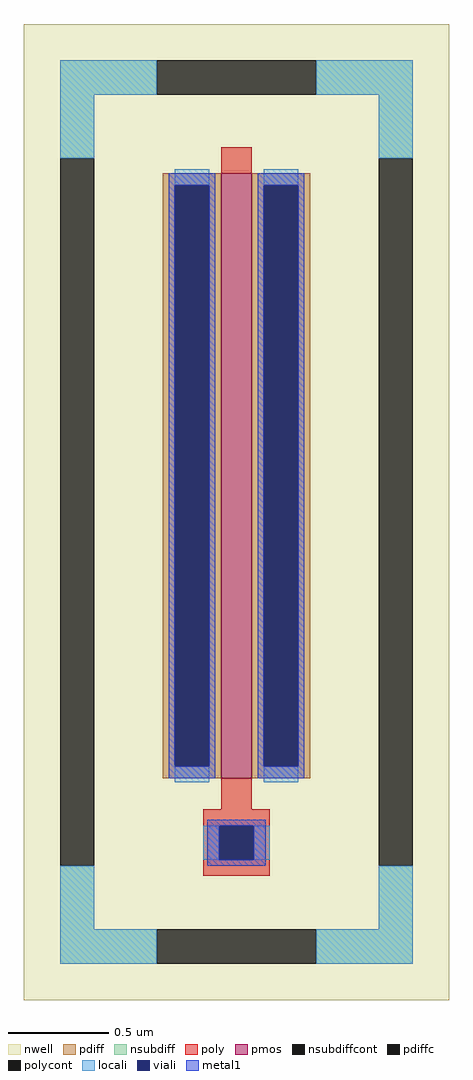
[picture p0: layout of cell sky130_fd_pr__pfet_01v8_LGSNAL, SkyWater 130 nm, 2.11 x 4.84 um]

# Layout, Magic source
magic
tech sky130A
magscale 1 2
<< nwell >>
rect -211 -484 211 484
<< pmos >>
rect -15 -264 15 336
<< pdiff >>
rect -73 324 -15 336
rect -73 -252 -61 324
rect -27 -252 -15 324
rect -73 -264 -15 -252
rect 15 324 73 336
rect 15 -252 27 324
rect 61 -252 73 324
rect 15 -264 73 -252
<< pdiffc >>
rect -61 -252 -27 324
rect 27 -252 61 324
<< nsubdiff >>
rect -175 414 -79 448
rect 79 414 175 448
rect -175 351 -141 414
rect 141 351 175 414
rect -175 -414 -141 -351
rect 141 -414 175 -351
rect -175 -448 -79 -414
rect 79 -448 175 -414
<< nsubdiffcont >>
rect -79 414 79 448
rect -175 -351 -141 351
rect 141 -351 175 351
rect -79 -448 79 -414
<< poly >>
rect -15 336 15 362
rect -15 -295 15 -264
rect -33 -311 33 -295
rect -33 -345 -17 -311
rect 17 -345 33 -311
rect -33 -361 33 -345
<< polycont >>
rect -17 -345 17 -311
<< locali >>
rect -175 414 -79 448
rect 79 414 175 448
rect -175 351 -141 414
rect 141 351 175 414
rect -61 324 -27 340
rect -61 -268 -27 -252
rect 27 324 61 340
rect 27 -268 61 -252
rect -33 -345 -17 -311
rect 17 -345 33 -311
rect -175 -414 -141 -351
rect 141 -414 175 -351
rect -175 -448 -79 -414
rect 79 -448 175 -414
<< viali >>
rect -61 -252 -27 324
rect 27 -252 61 324
rect -17 -345 17 -311
<< metal1 >>
rect -67 324 -21 336
rect -67 -252 -61 324
rect -27 -252 -21 324
rect -67 -264 -21 -252
rect 21 324 67 336
rect 21 -252 27 324
rect 61 -252 67 324
rect 21 -264 67 -252
rect -29 -311 29 -305
rect -29 -345 -17 -311
rect 17 -345 29 -311
rect -29 -351 29 -345
<< properties >>
string FIXED_BBOX -158 -431 158 431
string gencell sky130_fd_pr__pfet_01v8
string library sky130
string parameters w 3.0 l 0.15 m 1 nf 1 diffcov 100 polycov 100 guard 1 glc 1 grc 1 gtc 1 gbc 1 tbcov 100 rlcov 100 topc 0 botc 1 poverlap 0 doverlap 1 lmin 0.15 wmin 0.42 compatible {sky130_fd_pr__pfet_01v8  sky130_fd_pr__pfet_01v8_lvt sky130_fd_pr__pfet_01v8_hvt  sky130_fd_pr__pfet_g5v0d10v5} full_metal 1 viasrc 100 viadrn 100 viagate 100 viagb 0 viagr 0 viagl 0 viagt 0
<< end >>
